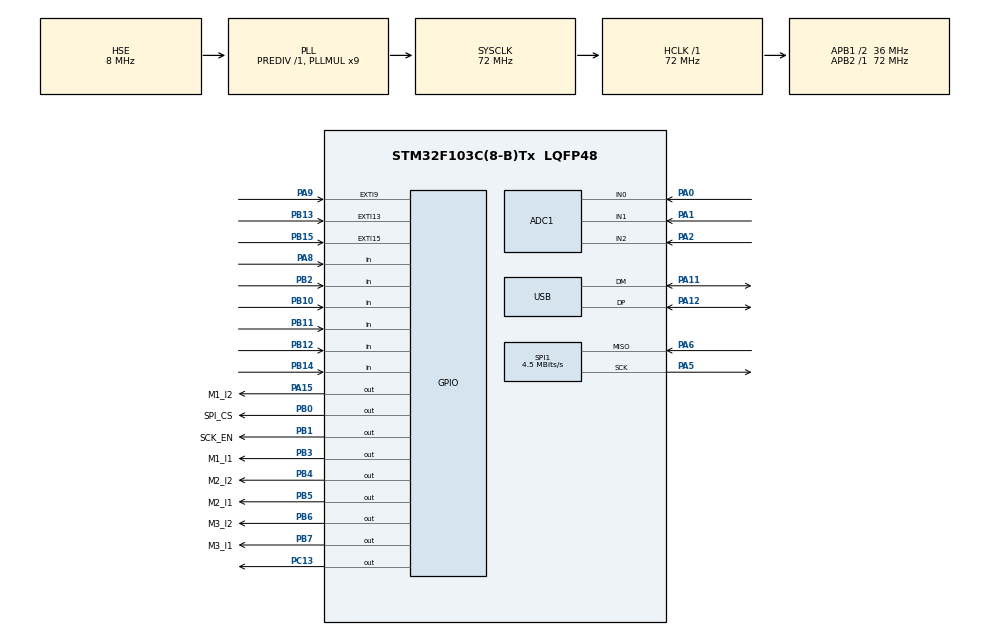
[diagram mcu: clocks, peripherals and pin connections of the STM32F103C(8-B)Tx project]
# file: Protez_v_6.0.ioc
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ADC1.Channel-0\#ChannelRegularConversion=ADC_CHANNEL_0
ADC1.NbrOfConversionFlag=1
ADC1.Rank-0\#ChannelRegularConversion=1
ADC1.SamplingTime-0\#ChannelRegularConversion=ADC_SAMPLETIME_1CYCLE_5
ADC1.master=1
Mcu.Family=STM32F1
Mcu.Name=STM32F103C(8-B)Tx
Mcu.Package=LQFP48
NVIC.EXTI15_10_IRQn=true\:1\:0\:true\:false\:true\:true\:true\:true
NVIC.EXTI9_5_IRQn=true\:1\:0\:true\:false\:true\:true\:true\:true
NVIC.PriorityGroup=NVIC_PRIORITYGROUP_4
NVIC.SPI1_IRQn=true\:0\:0\:false\:false\:true\:true\:true\:true
NVIC.TIM3_IRQn=true\:0\:0\:false\:false\:true\:true\:true\:true
NVIC.TIM4_IRQn=true\:0\:0\:false\:false\:true\:true\:true\:true
NVIC.USB_LP_CAN1_RX0_IRQn=true\:0\:0\:false\:false\:true\:false\:true\:true
PA0-WKUP.Signal=ADCx_IN0
PA1.Signal=ADCx_IN1
PA11.Mode=Device
PA11.Signal=USB_DM
PA12.Mode=Device
PA12.Signal=USB_DP
PA13.Mode=Serial_Wire
PA13.Signal=SYS_JTMS-SWDIO
PA14.Mode=Serial_Wire
PA14.Signal=SYS_JTCK-SWCLK
PA15.GPIO_Label=M1_I2
PA15.Signal=GPIO_Output
PA2.Signal=ADCx_IN2
PA5.Mode=RX_Only_Simplex_Unidirect_Master
PA5.Signal=SPI1_SCK
PA6.Mode=RX_Only_Simplex_Unidirect_Master
PA6.Signal=SPI1_MISO
PA8.GPIO_PuPd=GPIO_PULLUP
PA8.Signal=GPIO_Input
PA9.GPIO_ModeDefaultEXTI=GPIO_MODE_IT_FALLING
PA9.GPIO_PuPd=GPIO_PULLUP
PA9.Signal=GPXTI9
PB0.GPIO_Label=SPI_CS
PB0.Signal=GPIO_Output
PB1.GPIO_Label=SCK_EN
PB1.Signal=GPIO_Output
PB10.GPIO_Mode=GPIO_MODE_INPUT
PB10.GPIO_PuPd=GPIO_PULLUP
PB10.Signal=GPIO_Input
PB11.GPIO_Mode=GPIO_MODE_INPUT
PB11.GPIO_PuPd=GPIO_PULLUP
PB11.Signal=GPIO_Input
PB12.GPIO_PuPd=GPIO_PULLUP
PB12.Signal=GPIO_Input
PB13.GPIO_ModeDefaultEXTI=GPIO_MODE_IT_FALLING
PB13.GPIO_PuPd=GPIO_PULLUP
PB13.Signal=GPXTI13
PB14.GPIO_PuPd=GPIO_PULLUP
PB14.Signal=GPIO_Input
PB15.GPIO_ModeDefaultEXTI=GPIO_MODE_IT_FALLING
PB15.GPIO_PuPd=GPIO_PULLUP
PB15.Signal=GPXTI15
PB2.GPIO_Mode=GPIO_MODE_INPUT
PB2.GPIO_PuPd=GPIO_PULLUP
PB2.Signal=GPIO_Input
PB3.GPIO_Label=M1_I1
PB3.Signal=GPIO_Output
PB4.GPIO_Label=M2_I2
PB4.Signal=GPIO_Output
PB5.GPIO_Label=M2_I1
PB5.Signal=GPIO_Output
PB6.GPIO_Label=M3_I2
PB6.Signal=GPIO_Output
PB7.GPIO_Label=M3_I1
PB7.Signal=GPIO_Output
PC13-TAMPER-RTC.Signal=GPIO_Output
PD0-OSC_IN.Mode=HSE-External-Oscillator
PD0-OSC_IN.Signal=RCC_OSC_IN
PD1-OSC_OUT.Mode=HSE-External-Oscillator
PD1-OSC_OUT.Signal=RCC_OSC_OUT
ProjectManager.HeapSize=0x200
ProjectManager.StackSize=0x400
ProjectManager.TargetToolchain=STM32CubeIDE
RCC.ADCPresc=RCC_ADCPCLK2_DIV6
RCC.AHBFreq_Value=72000000
RCC.APB1CLKDivider=RCC_HCLK_DIV2
RCC.APB1Freq_Value=36000000
RCC.APB1TimFreq_Value=72000000
RCC.APB2Freq_Value=72000000
RCC.APB2TimFreq_Value=72000000
RCC.HCLKFreq_Value=72000000
RCC.PLLMUL=RCC_PLL_MUL9
RCC.PLLSourceVirtual=RCC_PLLSOURCE_HSE
RCC.SYSCLKFreq_VALUE=72000000
RCC.SYSCLKSource=RCC_SYSCLKSOURCE_PLLCLK
RCC.USBFreq_Value=48000000
RCC.USBPrescaler=RCC_USBCLKSOURCE_PLL_DIV1_5
SH.ADCx_IN0.0=ADC1_IN0,IN0
SH.ADCx_IN1.0=ADC1_IN1,IN1
SH.ADCx_IN2.0=ADC1_IN2,IN2
SPI1.BaudRatePrescaler=SPI_BAUDRATEPRESCALER_16
SPI1.CalculateBaudRate=4.5 MBits/s
SPI1.Direction=SPI_DIRECTION_2LINES_RXONLY
SPI1.Mode=SPI_MODE_MASTER
SPI1.VirtualType=VM_MASTER
TIM3.Period=10-1
TIM3.Prescaler=72-1
TIM4.Period=1000-1
TIM4.Prescaler=72-1
USB_DEVICE.CLASS_NAME_FS=CDC
USB_DEVICE.VirtualMode=Cdc
USB_DEVICE.VirtualModeFS=Cdc_FS
VP_TIM3_VS_ClockSourceINT.Mode=Internal
VP_TIM4_VS_ClockSourceINT.Mode=Internal
VP_USB_DEVICE_VS_USB_DEVICE_CDC_FS.Mode=CDC_FS
board=custom

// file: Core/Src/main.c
/* USER CODE BEGIN Header */
/**
  ******************************************************************************
  * @file           : main.c
  * @brief          : Main program body
  ******************************************************************************
  * @attention
  *
  * Copyright (c) 2026 STMicroelectronics.
  * All rights reserved.
  *
  * This software is licensed under terms that can be found in the LICENSE file
  * in the root directory of this software component.
  * If no LICENSE file comes with this software, it is provided AS-IS.
  *
  ******************************************************************************
  */
/* USER CODE END Header */
#include "main.h"
#include "usb_device.h"

/* USER CODE BEGIN Includes */
#include "StarVar.h"
/* USER CODE END Includes */

/* USER CODE BEGIN PTD */
_Bool CMD_HOME;
_Bool CMD_MAIN;
_Bool CMD_GET;
_Bool CMD_HDSP;
_Bool CMD_LIM;
/* USER CODE END PTD */

ADC_HandleTypeDef hadc1;

SPI_HandleTypeDef hspi1;

TIM_HandleTypeDef htim3;
TIM_HandleTypeDef htim4;

/* USER CODE BEGIN PV */

typedef enum cmd_t {
	MOVE = 0,
	HOLD,
	RELEASED,
} cmd_t;

typedef struct Point
{
    float x;
    float y;
} Point;

enum p_idx{
    p0 = 0,     // K
    p1, p2,     // O, P1
    p3, p4,     // C1, B1
    p5, p6,     // A1, N
    p7, p8,     // A, M
    p9, p10,    // B, L
    p11,        // C
};

typedef struct exoskeleton_t {
	Point p[13];

	float current_q[3];
} exoskeleton_t;

typedef enum direction_t {
	forward = 0,
	backforward,
} direction_t;
typedef struct PID_t {
//	float transfer_value;	/* 1 gradus = 1 pulse*/

//	float koef_p;

//	float old_current_angle;
//	float current_angle;
//	uint32_t old_current_time;
//	uint32_t current_time;

//	float trg_angle;
//	float trg_time;

//	float current_velocity;
//	float trg_velocity;

} PID_t;

typedef struct motor_t {
	GPIO_TypeDef*	gpio1;
	uint32_t 		pin1;
	GPIO_TypeDef*	gpio2;
	uint32_t 		pin2;

	uint32_t 		counter;
	uint32_t 		trg_up;
	uint32_t		pwm_count_down;

	_Bool			motor_en;
	direction_t		direction;

	_Bool 			enc_state;

	uint32_t 		counter_enc;

	PID_t			pid;

	float 			linear_step_on_per;
	float			transfer_value;

	float			lim_min;
	float			lim_max;
} motor_t;

motor_t motor[3];
uint8_t data;
volatile uint8_t USB_Angle[24];

exoskeleton_t 	exoskeleton;
usb_command_t 	u_cmd[3];
lim_t			u_lim[3];

float angle[3] = {0.0, };

uint8_t buffer_usb[100];

/* Длина линии по точкам */
float lenPP(Point a, Point b) {
    return sqrt((a.x - b.x) * (a.x - b.x) + (a.y - b.y) * (a.y - b.y));
}
/* Угол по трем сторонам */
float angle3Line(float l1, float l2, float l3) {
    return acos((((l2 * l2) + (l3 * l3) - (l1 * l1)) / (2.0 * l2 * l3) ));
}
/* Модуль по углу и двум сторонам */
float moduleALL(float angle, float line1, float line2) {
    return sqrt((line1 * line1) + (line2 * line2) - 2.0 * line1 * line2 * cos(angle));
}

/* USER CODE END PV */

void SystemClock_Config(void);
static void MX_GPIO_Init(void);
static void MX_ADC1_Init(void);
static void MX_SPI1_Init(void);
static void MX_TIM3_Init(void);
static void MX_TIM4_Init(void);
/* USER CODE BEGIN PFP */

void received_command() {

	static float sup_angle2[25] = {0, };
	float fi[3] = {0, };

    /*============================================================*/

	/* Имеем разворот (классическое положение) */
	fi[0] = 3.1415926536;
	fi[1] = 3.1415926536;
	fi[2] = 3.1415926536;

	if(u_cmd[0].number_motor == 0) {
		if (u_cmd[0].op_cmd == MOVE) {
			angle[0] = u_cmd[0].angle_trg;
		}
		else if (u_cmd[0].op_cmd == HOLD) {
			angle[0] = angle[0];
		}
		else if (u_cmd[0].op_cmd == RELEASED) {
			angle[0] = angle[0];
		}
	}
	if(u_cmd[1].number_motor == 1) {
		if (u_cmd[1].op_cmd == MOVE) {
			angle[1] = u_cmd[1].angle_trg;
		}
		else if (u_cmd[1].op_cmd == HOLD) {
			angle[1] = angle[1];
		}
		else if (u_cmd[1].op_cmd == RELEASED) {
			angle[1] = angle[1];
		}
	}
	if(u_cmd[2].number_motor == 2) {
		if (u_cmd[2].op_cmd == MOVE) {
			angle[2] = u_cmd[2].angle_trg;
		}
		else if (u_cmd[2].op_cmd == HOLD) {
			angle[2] = angle[2];
		}
		else if (u_cmd[2].op_cmd == RELEASED) {
			angle[2] = angle[2];
		}
	}

//	float angle[3] = {
//			USB_Angle[0] | (USB_Angle[1] << 8) | (USB_Angle[2] << 8)  | (USB_Angle[3]  << 8),
//			USB_Angle[4] | (USB_Angle[5] << 8) | (USB_Angle[6] << 8)  | (USB_Angle[7]  << 8),
//			USB_Angle[8] | (USB_Angle[9] << 8) | (USB_Angle[10] << 8) | (USB_Angle[11] << 8)
//			USB_Angle[0] | (USB_Angle[1] << 8),
//			USB_Angle[2] | (USB_Angle[3] << 8),
//			USB_Angle[4] | (USB_Angle[5] << 8),
//	};
	angle[0] /= 1000;
	angle[1] /= 1000;
	angle[2] /= 1000;

    fi[0] += (angle[0] * 3.14) / 180.0;
    fi[1] += (angle[1] * 3.14) / 180.0;
    fi[2] += (angle[2] * 3.14) / 180.0;

    exoskeleton.p[p0].x		= p0x;
    exoskeleton.p[p0].y		= p0y;
    exoskeleton.p[p1].x		= exoskeleton.p[p0].x + lx_p0p1;
    exoskeleton.p[p1].y		= exoskeleton.p[p0].y + ly_p0p1;
    exoskeleton.p[p2].x		= exoskeleton.p[p0].x + lx_p0p1 + lx_p1p2;
    exoskeleton.p[p2].y		= exoskeleton.p[p0].y + ly_p0p1 + ly_p1p2;

    l_p0p1					= lenPP(exoskeleton.p[p0], exoskeleton.p[p1]);
    l_p0p11					= l_p0p10 / 2.0;
    l_p9p10					= l_p8p10 / 2.0;
    l_p7p8					= l_p6p8 / 2.0;
    l_p10p11        		= l_p0p10 / 2.0;
    l_p8p9					= l_p8p10 / 2.0;

    /* p11 */       /*OK*/
    exoskeleton.p[p11].x        = l_p0p11 * cos(fi[0]);
    exoskeleton.p[p11].y        = l_p0p11 * sin(fi[0]);
    /* p10 */       /*OK*/
    exoskeleton.p[p10].x        = l_p0p10 * cos(fi[0]);
    exoskeleton.p[p10].y        = l_p0p10 * sin(fi[0]);
    /* p9 */        /*OK*/
    exoskeleton.p[p9].x        = exoskeleton.p[p10].x + l_p9p10 * cos(fi[0] + (fi[1] - PI));
    exoskeleton.p[p9].y        = exoskeleton.p[p10].y + l_p9p10 * sin(fi[0] + (fi[1] - PI));
    /* p8 */        /*OK*/
    exoskeleton.p[p8].x        = exoskeleton.p[p10].x + l_p8p10 * cos(fi[0] + (fi[1] - PI));
    exoskeleton.p[p8].y        = exoskeleton.p[p10].y + l_p8p10 * sin(fi[0] + (fi[1] - PI));
    /* p7 */        /*OK*/
    exoskeleton.p[p7].x        = exoskeleton.p[p8].x + l_p7p8 * cos(fi[0] + (fi[1] - PI) + (fi[2] - PI));
    exoskeleton.p[p7].y        = exoskeleton.p[p8].y + l_p7p8 * sin(fi[0] + (fi[1] - PI) + (fi[2] - PI));
    /* p6 */        /*OK*/
    exoskeleton.p[p6].x        = exoskeleton.p[p8].x + l_p6p8 * cos(fi[0] + (fi[1] - PI) + (fi[2] - PI));
    exoskeleton.p[p6].y        = exoskeleton.p[p8].y + l_p6p8 * sin(fi[0] + (fi[1] - PI) + (fi[2] - PI));
    /* p3 */
    float l_p1p11 = lenPP(exoskeleton.p[p1], exoskeleton.p[p11]);
    sup_angle2[18] = angle3Line(l_p1p11, l_p0p11, l_p0p1);
    sup_angle2[19] = angle3Line(l_p1p3, l_p1p11, l_p3p11) + angle3Line(l_p0p1, l_p1p11, l_p0p11);    /* ЗАВИСИМОСТЬ ОТ ЗНАКА +- */
                                                                                                    /* + ЕСЛИ ОТ НУЛЯ fi[0] */
    exoskeleton.p[p3].x         = exoskeleton.p[p11].x + l_p3p11 * cos((fi[0] - PI) + sup_angle2[19]);
    exoskeleton.p[p3].y         = exoskeleton.p[p11].y + l_p3p11 * sin((fi[0] - PI) + sup_angle2[19]);

    l_p2p3       = lenPP(exoskeleton.p[p3], exoskeleton.p[p2]);       /* Q0 */
//    l_p3p4       = lenPP(exoskeleton.p[p3], exoskeleton.p[p4]);       /* Q1 */

    /******************/

    l_p0p3       = lenPP(exoskeleton.p[p0], exoskeleton.p[p3]);
    sup_angle2[1] = angle3Line(l_p0p3, l_p0p11, l_p3p11);

    float l_p9p11 = lenPP(exoskeleton.p[p9], exoskeleton.p[p11]);

    sup_angle2[20] = angle3Line(l_p4p11, l_p4p9, l_p9p11) - angle3Line(l_p10p11, l_p9p11, l_p9p10); /* ЗАВИСИМОСТЬ ОТ ЗНАКА +- */
                                                                                                    /* + ЕСЛИ ОТ НУЛЯ fi[0] */

    exoskeleton.p[p4].x         = exoskeleton.p[p9].x + l_p4p9 * cos((fi[0] - PI) + (fi[1] - PI) + sup_angle2[20]);
    exoskeleton.p[p4].y         = exoskeleton.p[p9].y + l_p4p9 * sin((fi[0] - PI) + (fi[1] - PI) + sup_angle2[20]);

    l_p3p4       = lenPP(exoskeleton.p[p3], exoskeleton.p[p4]);          /* Q1 */

    float l_p7p9 = lenPP(exoskeleton.p[p7], exoskeleton.p[p9]);

    if (l_p7p9 > (l_p8p9 + l_p7p8)) l_p7p9 = l_p8p9 + l_p7p8;

    sup_angle2[21] = angle3Line(l_p5p9, l_p7p9, l_p5p7) - angle3Line(l_p8p9, l_p7p8, l_p7p9);   /* ЗАВИСИМОСТЬ ОТ ЗНАКА +- */
                                                                                                /* + ЕСЛИ ОТ НУЛЯ fi[0] */

    exoskeleton.p[p5].x         = exoskeleton.p[p7].x + l_p5p7 * cos((fi[0] - PI) + (fi[1] - PI) + (fi[2] - PI) + sup_angle2[21]);
    exoskeleton.p[p5].y         = exoskeleton.p[p7].y + l_p5p7 * sin((fi[0] - PI) + (fi[1] - PI) + (fi[2] - PI) + sup_angle2[21]);

    l_p4p5          = lenPP(exoskeleton.p[p4], exoskeleton.p[p5]);       /* Q2 */

//    exoskeleton.current_q[0] = l_p2p3;
//    exoskeleton.current_q[1] = l_p3p4;
//    exoskeleton.current_q[2] = l_p4p5;

    /* Start */

    if (exoskeleton.current_q[0] < l_p2p3) {
    	motor[0].direction			= forward;
    }
    else motor[0].direction			= backforward;
    if (exoskeleton.current_q[1] < l_p3p4) {
    	motor[1].direction			= forward;
    }
    else motor[1].direction			= backforward;
    if (exoskeleton.current_q[2] < l_p4p5) {
    	motor[2].direction			= forward;
    }
    else motor[2].direction			= backforward;

	HAL_GPIO_WritePin(motor[0].gpio1, motor[0].pin1, GPIO_PIN_RESET);
	HAL_GPIO_WritePin(motor[0].gpio2, motor[0].pin2, GPIO_PIN_RESET);
	HAL_GPIO_WritePin(motor[1].gpio1, motor[1].pin1, GPIO_PIN_RESET);
	HAL_GPIO_WritePin(motor[1].gpio2, motor[1].pin2, GPIO_PIN_RESET);
	HAL_GPIO_WritePin(motor[2].gpio1, motor[2].pin1, GPIO_PIN_RESET);
	HAL_GPIO_WritePin(motor[2].gpio2, motor[2].pin2, GPIO_PIN_RESET);

    HAL_TIM_Base_Start_IT(&htim4);

    if (exoskeleton.current_q[0] != l_p2p3) {
        motor[0].motor_en = true;
    }
	if (exoskeleton.current_q[1] != l_p3p4) {
	    motor[1].motor_en = true;
	}
	if (exoskeleton.current_q[2] != l_p4p5) {
	    motor[2].motor_en = true;
	}

	if ((u_cmd[0].speed == 0) || (u_cmd[1].speed == 0) || (u_cmd[2].speed == 0)) {
		CDC_Transmit_FS((uint8_t*)"SPD= 0", 6u);
	}
	else {
		motor[0].pwm_count_down 	= u_cmd[0].speed;
		motor[1].pwm_count_down 	= u_cmd[1].speed;
		motor[2].pwm_count_down 	= u_cmd[2].speed;
	}

    while(1) {

    	if (CMD_HDSP) {
    		CMD_HDSP = false;

    		motor[0].motor_en = false;
    		motor[1].motor_en = false;
    		motor[2].motor_en = false;

    		CDC_Transmit_FS((uint8_t*)"OK____", 6u);
    		break;
    	}
    	if (exoskeleton.current_q[0] <= u_lim[0].lim_min) {
    		HAL_GPIO_WritePin(motor[0].gpio1, motor[0].pin1, GPIO_PIN_SET);
    		HAL_GPIO_WritePin(motor[0].gpio2, motor[0].pin2, GPIO_PIN_SET);
    		motor[0].motor_en = false;
    		CDC_Transmit_FS((uint8_t*)"ERRLM0", 6u);
    	}
    	else if (exoskeleton.current_q[0] >= u_lim[0].lim_max) {
    		HAL_GPIO_WritePin(motor[0].gpio1, motor[0].pin1, GPIO_PIN_SET);
    		HAL_GPIO_WritePin(motor[0].gpio2, motor[0].pin2, GPIO_PIN_SET);
    		motor[0].motor_en = false;
    		CDC_Transmit_FS((uint8_t*)"ERRHM0", 6u);
    	}

    	if (exoskeleton.current_q[1] <= u_lim[1].lim_min) {
    		HAL_GPIO_WritePin(motor[1].gpio1, motor[1].pin1, GPIO_PIN_SET);
    		HAL_GPIO_WritePin(motor[1].gpio2, motor[1].pin2, GPIO_PIN_SET);
    		motor[1].motor_en = false;
    		CDC_Transmit_FS((uint8_t*)"ERRLM1", 6u);
    	}
    	else if (exoskeleton.current_q[1] >= u_lim[1].lim_max) {
    		HAL_GPIO_WritePin(motor[1].gpio1, motor[1].pin1, GPIO_PIN_SET);
    		HAL_GPIO_WritePin(motor[1].gpio2, motor[1].pin2, GPIO_PIN_SET);
    		motor[1].motor_en = false;
    		CDC_Transmit_FS((uint8_t*)"ERRHM1", 6u);
    	}

    	if (exoskeleton.current_q[2] <= u_lim[2].lim_min) {
    		HAL_GPIO_WritePin(motor[2].gpio1, motor[2].pin1, GPIO_PIN_SET);
    		HAL_GPIO_WritePin(motor[2].gpio2, motor[2].pin2, GPIO_PIN_SET);
    		motor[2].motor_en = false;
    		CDC_Transmit_FS((uint8_t*)"ERRLM2", 6u);
    	}
    	else if (exoskeleton.current_q[2] >= u_lim[2].lim_max) {
    		HAL_GPIO_WritePin(motor[2].gpio1, motor[2].pin1, GPIO_PIN_SET);
    		HAL_GPIO_WritePin(motor[2].gpio2, motor[2].pin2, GPIO_PIN_SET);
    		motor[2].motor_en = false;
    		CDC_Transmit_FS((uint8_t*)"ERRHM2", 6u);
    	}

//    	HAL_GPIO_WritePin(GPIOB, GPIO_PIN_0, GPIO_PIN_RESET);
//    	for (uint32_t i = 0; i < 100; i++) {}
//    	HAL_SPI_Receive_IT(&hspi1, &data, 1);
//    	for (uint32_t i = 0; i < 100; i++) {}
//    	HAL_GPIO_WritePin(GPIOB, GPIO_PIN_0, GPIO_PIN_SET);

    	//*********************//
//    	if (!(data & (1 << 7))) motor[0].enc_ch_state2		= true;
//    	else motor[0].enc_ch_state2							= false;
    	// The second sensor is EXTI handler sensor
    	//*********************//
//    	if (!(data & (1 << 6))) motor[1].enc_ch_state2		= true;
//    	else motor[1].enc_ch_state2							= false;
//    	if (!(data & (1 << 5))) motor[1].enc_ch_state1		= true;
//    	else motor[1].enc_ch_state1							= false;
    	//*********************//
//    	if (!(data & (1 << 4))) motor[2].enc_ch_state2		= true;
//    	else motor[2].enc_ch_state2							= false;
//    	if (!(data & (1 << 3))) motor[2].enc_ch_state1		= true;
//    	else motor[2].enc_ch_state1							= false;
    	//*********************//

    	if (motor[0].direction == forward) {
    		if (exoskeleton.current_q[0] >= l_p2p3) {
    			motor[0].motor_en = false;
    			HAL_GPIO_WritePin(motor[0].gpio1, motor[0].pin1, GPIO_PIN_SET);
        		HAL_GPIO_WritePin(motor[0].gpio2, motor[0].pin2, GPIO_PIN_SET);
        	}
    	}
    	else if (motor[0].direction == backforward) {
    		if (exoskeleton.current_q[0] <= l_p2p3) {
    			motor[0].motor_en = false;
    			HAL_GPIO_WritePin(motor[0].gpio1, motor[0].pin1, GPIO_PIN_SET);
        		HAL_GPIO_WritePin(motor[0].gpio2, motor[0].pin2, GPIO_PIN_SET);
        	}
    	}
    	if (motor[1].direction == forward) {
    		if (exoskeleton.current_q[1] >= l_p3p4) {
    			motor[1].motor_en = false;
    			HAL_GPIO_WritePin(motor[1].gpio1, motor[1].pin1, GPIO_PIN_SET);
        		HAL_GPIO_WritePin(motor[1].gpio2, motor[1].pin2, GPIO_PIN_SET);
        	}
    	}
    	else if (motor[1].direction == backforward) {
    		if (exoskeleton.current_q[1] <= l_p3p4) {
    			motor[1].motor_en = false;
    			HAL_GPIO_WritePin(motor[1].gpio1, motor[1].pin1, GPIO_PIN_SET);
        		HAL_GPIO_WritePin(motor[1].gpio2, motor[1].pin2, GPIO_PIN_SET);
        	}
    	}
    	if (motor[2].direction == forward) {
    		if (exoskeleton.current_q[2] >= l_p4p5) {
    			motor[2].motor_en = false;
    			HAL_GPIO_WritePin(motor[2].gpio1, motor[2].pin1, GPIO_PIN_SET);
        		HAL_GPIO_WritePin(motor[2].gpio2, motor[2].pin2, GPIO_PIN_SET);
        	}
    	}
    	else if (motor[2].direction == backforward) {
    		if (exoskeleton.current_q[2] <= l_p4p5) {
    			motor[2].motor_en = false;
    			HAL_GPIO_WritePin(motor[2].gpio1, motor[2].pin1, GPIO_PIN_SET);
        		HAL_GPIO_WritePin(motor[2].gpio2, motor[2].pin2, GPIO_PIN_SET);
        	}
    	}

    	/* DISABLE */
    	if (!motor[0].motor_en && !motor[1].motor_en && !motor[2].motor_en) {
    		HAL_TIM_Base_Stop_IT(&htim4);
    		CDC_Transmit_FS((uint8_t*)"OK____", 6u);
    		break;
    	}

    }

	HAL_GPIO_WritePin(motor[0].gpio1, motor[0].pin1, GPIO_PIN_RESET);
	HAL_GPIO_WritePin(motor[0].gpio2, motor[0].pin2, GPIO_PIN_RESET);
	HAL_GPIO_WritePin(motor[1].gpio1, motor[1].pin1, GPIO_PIN_RESET);
	HAL_GPIO_WritePin(motor[1].gpio2, motor[1].pin2, GPIO_PIN_RESET);
	HAL_GPIO_WritePin(motor[2].gpio1, motor[2].pin1, GPIO_PIN_RESET);
	HAL_GPIO_WritePin(motor[2].gpio2, motor[2].pin2, GPIO_PIN_RESET);

//	if ((motor[0].pid.trg_angle - motor[0].pid.current_angle) <= 0) {
//		  motor[0].motor_en				= false;
//		  HAL_GPIO_WritePin(motor[0].gpio1, motor[0].pin1, GPIO_PIN_SET);
//		  HAL_GPIO_WritePin(motor[0].gpio2, motor[0].pin2, GPIO_PIN_SET);
//	}

}

void home() {

	motor[0].direction			= backforward;
	motor[1].direction			= backforward;
	motor[2].direction			= backforward;

	motor[0].trg_up				= 10;
	motor[0].pwm_count_down 	= 500;
	motor[1].trg_up				= 10;
	motor[1].pwm_count_down 	= 500;
	motor[2].trg_up				= 10;
	motor[2].pwm_count_down 	= 500;

	HAL_GPIO_WritePin(motor[0].gpio1, motor[0].pin1, GPIO_PIN_RESET);
	HAL_GPIO_WritePin(motor[0].gpio2, motor[0].pin2, GPIO_PIN_RESET);
	HAL_GPIO_WritePin(motor[1].gpio1, motor[1].pin1, GPIO_PIN_RESET);
	HAL_GPIO_WritePin(motor[1].gpio2, motor[1].pin2, GPIO_PIN_RESET);
	HAL_GPIO_WritePin(motor[2].gpio1, motor[2].pin1, GPIO_PIN_RESET);
	HAL_GPIO_WritePin(motor[2].gpio2, motor[2].pin2, GPIO_PIN_RESET);
    HAL_TIM_Base_Start_IT(&htim4);

    motor[0].motor_en = true;
    motor[1].motor_en = true;
    motor[2].motor_en = true;

    while(1) {

    	if ((HAL_GPIO_ReadPin(GPIOB, GPIO_PIN_11) == GPIO_PIN_RESET) && motor[0].motor_en) {
    		motor[0].motor_en = false;
			HAL_GPIO_WritePin(motor[0].gpio1, motor[0].pin1, GPIO_PIN_RESET);
			HAL_GPIO_WritePin(motor[0].gpio2, motor[0].pin2, GPIO_PIN_RESET);
    	}
    	if ((HAL_GPIO_ReadPin(GPIOB, GPIO_PIN_10) == GPIO_PIN_RESET) && motor[1].motor_en) {
			motor[1].motor_en = false;
			HAL_GPIO_WritePin(motor[1].gpio1, motor[1].pin1, GPIO_PIN_RESET);
			HAL_GPIO_WritePin(motor[1].gpio2, motor[1].pin2, GPIO_PIN_RESET);
    	}
    	if ((HAL_GPIO_ReadPin(GPIOB, GPIO_PIN_2) == GPIO_PIN_RESET) && motor[2].motor_en) {
			motor[2].motor_en = false;
			HAL_GPIO_WritePin(motor[2].gpio1, motor[2].pin1, GPIO_PIN_RESET);
			HAL_GPIO_WritePin(motor[2].gpio2, motor[2].pin2, GPIO_PIN_RESET);
    	}

    	if (!motor[0].motor_en && !motor[1].motor_en && !motor[2].motor_en) {

    		HAL_Delay(500);
    		/* First position */

    		motor[0].direction			= forward;
    		motor[1].direction			= forward;
    		motor[2].direction			= forward;

    	    motor[0].motor_en = true;
    	    motor[1].motor_en = true;
    	    motor[2].motor_en = true;

    	    HAL_Delay(800);

    		motor[0].motor_en = false;
    	    motor[1].motor_en = false;
    	    motor[2].motor_en = false;

			HAL_GPIO_WritePin(motor[0].gpio1, motor[0].pin1, GPIO_PIN_SET);
			HAL_GPIO_WritePin(motor[0].gpio2, motor[0].pin2, GPIO_PIN_SET);
			HAL_GPIO_WritePin(motor[1].gpio1, motor[1].pin1, GPIO_PIN_SET);
			HAL_GPIO_WritePin(motor[1].gpio2, motor[1].pin2, GPIO_PIN_SET);
			HAL_GPIO_WritePin(motor[2].gpio1, motor[2].pin1, GPIO_PIN_SET);
			HAL_GPIO_WritePin(motor[2].gpio2, motor[2].pin2, GPIO_PIN_SET);

    	    HAL_TIM_Base_Stop_IT(&htim4);

    		/* First position */
    		exoskeleton.current_q[0] = 74.790899999999993;
    		exoskeleton.current_q[1] = 59.259999999999998;
    		exoskeleton.current_q[2] = 30.91;

    	    HAL_Delay(700);

			HAL_GPIO_WritePin(motor[0].gpio1, motor[0].pin1, GPIO_PIN_RESET);
			HAL_GPIO_WritePin(motor[0].gpio2, motor[0].pin2, GPIO_PIN_RESET);
			HAL_GPIO_WritePin(motor[1].gpio1, motor[1].pin1, GPIO_PIN_RESET);
			HAL_GPIO_WritePin(motor[1].gpio2, motor[1].pin2, GPIO_PIN_RESET);
			HAL_GPIO_WritePin(motor[2].gpio1, motor[2].pin1, GPIO_PIN_RESET);
			HAL_GPIO_WritePin(motor[2].gpio2, motor[2].pin2, GPIO_PIN_RESET);

    		break;
    	}
    }
}

/* USER CODE END PFP */

int main(void)
{

  /* MCU Configuration--------------------------------------------------------*/

  /* Reset of all peripherals, Initializes the Flash interface and the Systick. */
  HAL_Init();

  /* Configure the system clock */
  SystemClock_Config();

  /* Initialize all configured peripherals */
  MX_GPIO_Init();
  MX_ADC1_Init();
  MX_SPI1_Init();
  MX_USB_DEVICE_Init();
  MX_TIM3_Init();
  MX_TIM4_Init();
  /* USER CODE BEGIN 2 */
  /* Motor 1 */
  motor[0].gpio1 				= GPIOB;
  motor[0].pin1					= GPIO_PIN_7;
  motor[0].gpio2 				= GPIOB;
  motor[0].pin2					= GPIO_PIN_6;
  motor[0].transfer_value		= 23.0;
  motor[0].direction			= forward;
  motor[0].motor_en				= false;
  motor[0].trg_up				= 10;
  motor[0].pwm_count_down 		= 800;
  /* Motor 2 */
  motor[1].gpio1 				= GPIOB;
  motor[1].pin1					= GPIO_PIN_5;
  motor[1].gpio2 				= GPIOB;
  motor[1].pin2					= GPIO_PIN_4;
  motor[1].transfer_value		= 23.0;
  motor[1].direction			= forward;
  motor[1].motor_en				= false;
  motor[1].trg_up				= 10;
  motor[1].pwm_count_down 		= 800;
  /* Motor 3 */
  motor[2].gpio1 				= GPIOB;
  motor[2].pin1					= GPIO_PIN_3;
  motor[2].gpio2 				= GPIOA;
  motor[2].pin2					= GPIO_PIN_15;
  motor[2].transfer_value		= 23.0;
  motor[2].direction			= forward;
  motor[2].motor_en				= false;
  motor[2].trg_up				= 10;
  motor[2].pwm_count_down 		= 800;

  /* First position */
  exoskeleton.current_q[0] = 74.790899999999993;
  exoskeleton.current_q[1] = 59.259999999999998;
  exoskeleton.current_q[2] = 30.91;

  /* Linear pitch value per screw rotation value */
  motor[0].linear_step_on_per = 0.5;
  motor[1].linear_step_on_per = 0.5;
  motor[2].linear_step_on_per = 0.5;

//  HAL_TIM_Base_Start_IT(&htim4);
//  HAL_TIM_Base_Start_IT(&htim3);

  HAL_GPIO_WritePin(GPIOB, GPIO_PIN_1, GPIO_PIN_SET);
  HAL_GPIO_WritePin(GPIOB, GPIO_PIN_0, GPIO_PIN_SET);

  HAL_Delay(1000);

  USB_Angle[0] = 0;
  USB_Angle[1] = 0;
  USB_Angle[2] = 0;

  u_lim[0].lim_max 	= 200.0;
  u_lim[0].lim_min 	= 0.0;
  u_lim[1].lim_max 	= 200.0;
  u_lim[1].lim_min 	= 0.0;
  u_lim[2].lim_max 	= 200.0;
  u_lim[2].lim_min 	= 0.0;

  u_cmd[0].speed	= 800;
  u_cmd[1].speed	= 800;
  u_cmd[2].speed	= 800;

//  received_command();

//  home();

  /* USER CODE END 2 */

  /* Infinite loop */
  /* USER CODE BEGIN WHILE */
  while (1)
  {
	  HAL_GPIO_TogglePin(GPIOC, GPIO_PIN_13);

	  if (CMD_HOME) {
		  home();
		  CDC_Transmit_FS((uint8_t*)"OK____", 6u);
		  CMD_HOME = false;
	  }
	  else if (CMD_MAIN) {
		  received_command();
		  CDC_Transmit_FS((uint8_t*)"OK____", 6u);
		  CMD_MAIN = false;
	  }
	  else if (CMD_GET) {

		  uint8_t u = 0;
		  buffer_usb[u++] = 'T';
		  uint32_t tm = HAL_GetTick();
		  buffer_usb[u++] = ((tm & 0xFF000000) >> 24);
		  buffer_usb[u++] = ((tm & 0x00FF0000) >> 16);
		  buffer_usb[u++] = ((tm & 0x0000FF00) >> 8);
		  buffer_usb[u++] = ((tm & 0x000000FF) >> 0);
		  for (uint8_t i = 0; i < 3; i++) {
			  buffer_usb[u++] = 'M';
			  buffer_usb[u++] = i;
			  uint32_t agl = angle[0] * 1000;
			  buffer_usb[u++] = ((agl & 0xFF000000) >> 24);
			  buffer_usb[u++] = ((agl & 0x00FF0000) >> 16);
			  buffer_usb[u++] = ((agl & 0x0000FF00) >> 8);
			  buffer_usb[u++] = ((agl & 0x000000FF) >> 0);
			  uint32_t c_agl = exoskeleton.current_q[0] * 1000;
			  buffer_usb[u++] = ((c_agl & 0xFF000000) >> 24);
			  buffer_usb[u++] = ((c_agl & 0x00FF0000) >> 16);
			  buffer_usb[u++] = ((c_agl & 0x0000FF00) >> 8);
			  buffer_usb[u++] = ((c_agl & 0x000000FF) >> 0);
			  buffer_usb[u++] = u_cmd[i].op_cmd;
			  uint32_t lim_mn = u_lim[i].lim_min * 1000;
			  buffer_usb[u++] = ((lim_mn & 0xFF000000) >> 24);
			  buffer_usb[u++] = ((lim_mn & 0x00FF0000) >> 16);
			  buffer_usb[u++] = ((lim_mn & 0x0000FF00) >> 8);
			  buffer_usb[u++] = ((lim_mn & 0x000000FF) >> 0);
			  uint32_t lim_mx = u_lim[i].lim_max * 1000;
			  buffer_usb[u++] = ((lim_mx & 0xFF000000) >> 24);
			  buffer_usb[u++] = ((lim_mx & 0x00FF0000) >> 16);
			  buffer_usb[u++] = ((lim_mx & 0x0000FF00) >> 8);
			  buffer_usb[u++] = ((lim_mx & 0x000000FF) >> 0);
		  }
		  CDC_Transmit_FS((uint8_t*)buffer_usb, 59u);
		  CMD_GET = false;
	  }

//	  HAL_GPIO_WritePin(GPIOB, GPIO_PIN_0, GPIO_PIN_RESET);
//	  for (uint32_t i = 0; i < 100; i++) {}
//	  HAL_SPI_Receive_IT(&hspi1, &data, 1);
//	  for (uint32_t i = 0; i < 100; i++) {}
//	  HAL_GPIO_WritePin(GPIOB, GPIO_PIN_0, GPIO_PIN_SET);
//
//
//	  if (!(data & (1 << 7))) motor[0].enc_ch_state2		= true;
//	  else motor[0].enc_ch_state2							= false;
//	  current_q

	  //			motor[0].pid.current_angle 		= 2.4 * motor[0].counter_enc / motor[0].pid.transfer_value;
	  //			temp4								= (100000 * (motor[0].pid.current_angle - motor[0].pid.old_current_angle) /
	  //				  (motor[0].pid.current_time - motor[0].pid.old_current_time));
	  //			motor[0].pid.current_velocity 	= 100000 * (motor[0].pid.current_angle) / (motor[0].pid.current_time + 0.0001);
	  //			temp1 							= 0.08 * motor[0].pid.koef_p * (motor[0].pid.trg_velocity - motor[0].pid.current_velocity);
	  //			motor[0].pwm_count_down			+= temp1;
	  //			motor[0].pid.old_current_angle	= motor[0].pid.current_angle;
	  //			motor[0].pid.old_current_time		= motor[0].pid.current_time;
	  //			if (motor[0].pwm_count_down < 60) motor[0].pwm_count_down = 60;

/*
	  if (motor[0].counter_enc >= 10500)  //1050
	  {
		  motor[0].motor_en				= false;

		  HAL_GPIO_WritePin(motor[0].gpio1, motor[0].pin1, GPIO_PIN_RESET);
		  HAL_GPIO_WritePin(motor[0].gpio2, motor[0].pin2, GPIO_PIN_RESET);
	  }
*/

	  HAL_Delay(20);

    /* USER CODE END WHILE */

  }
}

void SystemClock_Config(void)
{
  RCC_OscInitTypeDef RCC_OscInitStruct = {0};
  RCC_ClkInitTypeDef RCC_ClkInitStruct = {0};
  RCC_PeriphCLKInitTypeDef PeriphClkInit = {0};

  /** Initializes the RCC Oscillators according to the specified parameters
  * in the RCC_OscInitTypeDef structure.
  */
  RCC_OscInitStruct.OscillatorType = RCC_OSCILLATORTYPE_HSE;
  RCC_OscInitStruct.HSEState = RCC_HSE_ON;
  RCC_OscInitStruct.HSEPredivValue = RCC_HSE_PREDIV_DIV1;
  RCC_OscInitStruct.HSIState = RCC_HSI_ON;
  RCC_OscInitStruct.PLL.PLLState = RCC_PLL_ON;
  RCC_OscInitStruct.PLL.PLLSource = RCC_PLLSOURCE_HSE;
  RCC_OscInitStruct.PLL.PLLMUL = RCC_PLL_MUL9;
  if (HAL_RCC_OscConfig(&RCC_OscInitStruct) != HAL_OK)
  {
    Error_Handler();
  }

  /** Initializes the CPU, AHB and APB buses clocks
  */
  RCC_ClkInitStruct.ClockType = RCC_CLOCKTYPE_HCLK|RCC_CLOCKTYPE_SYSCLK
                              |RCC_CLOCKTYPE_PCLK1|RCC_CLOCKTYPE_PCLK2;
  RCC_ClkInitStruct.SYSCLKSource = RCC_SYSCLKSOURCE_PLLCLK;
  RCC_ClkInitStruct.AHBCLKDivider = RCC_SYSCLK_DIV1;
  RCC_ClkInitStruct.APB1CLKDivider = RCC_HCLK_DIV2;
  RCC_ClkInitStruct.APB2CLKDivider = RCC_HCLK_DIV1;

  if (HAL_RCC_ClockConfig(&RCC_ClkInitStruct, FLASH_LATENCY_2) != HAL_OK)
  {
    Error_Handler();
  }
  PeriphClkInit.PeriphClockSelection = RCC_PERIPHCLK_ADC|RCC_PERIPHCLK_USB;
  PeriphClkInit.AdcClockSelection = RCC_ADCPCLK2_DIV6;
  PeriphClkInit.UsbClockSelection = RCC_USBCLKSOURCE_PLL_DIV1_5;
  if (HAL_RCCEx_PeriphCLKConfig(&PeriphClkInit) != HAL_OK)
  {
    Error_Handler();
  }
}

static void MX_ADC1_Init(void)
{

  ADC_ChannelConfTypeDef sConfig = {0};

  /** Common config
  */
  hadc1.Instance = ADC1;
  hadc1.Init.ScanConvMode = ADC_SCAN_DISABLE;
  hadc1.Init.ContinuousConvMode = DISABLE;
  hadc1.Init.DiscontinuousConvMode = DISABLE;
  hadc1.Init.ExternalTrigConv = ADC_SOFTWARE_START;
  hadc1.Init.DataAlign = ADC_DATAALIGN_RIGHT;
  hadc1.Init.NbrOfConversion = 1;
  if (HAL_ADC_Init(&hadc1) != HAL_OK)
  {
    Error_Handler();
  }

  /** Configure Regular Channel
  */
  sConfig.Channel = ADC_CHANNEL_0;
  sConfig.Rank = ADC_REGULAR_RANK_1;
  sConfig.SamplingTime = ADC_SAMPLETIME_1CYCLE_5;
  if (HAL_ADC_ConfigChannel(&hadc1, &sConfig) != HAL_OK)
  {
    Error_Handler();
  }

}

static void MX_SPI1_Init(void)
{

  /* SPI1 parameter configuration*/
  hspi1.Instance = SPI1;
  hspi1.Init.Mode = SPI_MODE_MASTER;
  hspi1.Init.Direction = SPI_DIRECTION_2LINES_RXONLY;
  hspi1.Init.DataSize = SPI_DATASIZE_8BIT;
  hspi1.Init.CLKPolarity = SPI_POLARITY_LOW;
  hspi1.Init.CLKPhase = SPI_PHASE_1EDGE;
  hspi1.Init.NSS = SPI_NSS_SOFT;
  hspi1.Init.BaudRatePrescaler = SPI_BAUDRATEPRESCALER_16;
  hspi1.Init.FirstBit = SPI_FIRSTBIT_MSB;
  hspi1.Init.TIMode = SPI_TIMODE_DISABLE;
  hspi1.Init.CRCCalculation = SPI_CRCCALCULATION_DISABLE;
  hspi1.Init.CRCPolynomial = 10;
  if (HAL_SPI_Init(&hspi1) != HAL_OK)
  {
    Error_Handler();
  }

}

static void MX_TIM3_Init(void)
{

  TIM_ClockConfigTypeDef sClockSourceConfig = {0};
  TIM_MasterConfigTypeDef sMasterConfig = {0};

  htim3.Instance = TIM3;
  htim3.Init.Prescaler = 72-1;
  htim3.Init.CounterMode = TIM_COUNTERMODE_UP;
  htim3.Init.Period = 10-1;
  htim3.Init.ClockDivision = TIM_CLOCKDIVISION_DIV1;
  htim3.Init.AutoReloadPreload = TIM_AUTORELOAD_PRELOAD_DISABLE;
  if (HAL_TIM_Base_Init(&htim3) != HAL_OK)
  {
    Error_Handler();
  }
  sClockSourceConfig.ClockSource = TIM_CLOCKSOURCE_INTERNAL;
  if (HAL_TIM_ConfigClockSource(&htim3, &sClockSourceConfig) != HAL_OK)
  {
    Error_Handler();
  }
  sMasterConfig.MasterOutputTrigger = TIM_TRGO_RESET;
  sMasterConfig.MasterSlaveMode = TIM_MASTERSLAVEMODE_DISABLE;
  if (HAL_TIMEx_MasterConfigSynchronization(&htim3, &sMasterConfig) != HAL_OK)
  {
    Error_Handler();
  }

}

static void MX_TIM4_Init(void)
{

  TIM_ClockConfigTypeDef sClockSourceConfig = {0};
  TIM_MasterConfigTypeDef sMasterConfig = {0};

  htim4.Instance = TIM4;
  htim4.Init.Prescaler = 72-1;
  htim4.Init.CounterMode = TIM_COUNTERMODE_UP;
  htim4.Init.Period = 1000-1;
  htim4.Init.ClockDivision = TIM_CLOCKDIVISION_DIV1;
  htim4.Init.AutoReloadPreload = TIM_AUTORELOAD_PRELOAD_DISABLE;
  if (HAL_TIM_Base_Init(&htim4) != HAL_OK)
  {
    Error_Handler();
  }
  sClockSourceConfig.ClockSource = TIM_CLOCKSOURCE_INTERNAL;
  if (HAL_TIM_ConfigClockSource(&htim4, &sClockSourceConfig) != HAL_OK)
  {
    Error_Handler();
  }
  sMasterConfig.MasterOutputTrigger = TIM_TRGO_RESET;
  sMasterConfig.MasterSlaveMode = TIM_MASTERSLAVEMODE_DISABLE;
  if (HAL_TIMEx_MasterConfigSynchronization(&htim4, &sMasterConfig) != HAL_OK)
  {
    Error_Handler();
  }

}

static void MX_GPIO_Init(void)
{
  GPIO_InitTypeDef GPIO_InitStruct = {0};

  /* GPIO Ports Clock Enable */
  __HAL_RCC_GPIOC_CLK_ENABLE();
  __HAL_RCC_GPIOD_CLK_ENABLE();
  __HAL_RCC_GPIOA_CLK_ENABLE();
  __HAL_RCC_GPIOB_CLK_ENABLE();

  /*Configure GPIO pin Output Level */
  HAL_GPIO_WritePin(GPIOC, GPIO_PIN_13, GPIO_PIN_RESET);

  /*Configure GPIO pin Output Level */
  HAL_GPIO_WritePin(GPIOB, SPI_CS_Pin|SCK_EN_Pin|M1_I1_Pin|M2_I2_Pin
                          |M2_I1_Pin|M3_I2_Pin|M3_I1_Pin, GPIO_PIN_RESET);

  /*Configure GPIO pin Output Level */
  HAL_GPIO_WritePin(M1_I2_GPIO_Port, M1_I2_Pin, GPIO_PIN_RESET);

  /*Configure GPIO pin : PC13 */
  GPIO_InitStruct.Pin = GPIO_PIN_13;
  GPIO_InitStruct.Mode = GPIO_MODE_OUTPUT_PP;
  GPIO_InitStruct.Pull = GPIO_NOPULL;
  GPIO_InitStruct.Speed = GPIO_SPEED_FREQ_LOW;
  HAL_GPIO_Init(GPIOC, &GPIO_InitStruct);

  /*Configure GPIO pins : SPI_CS_Pin SCK_EN_Pin M1_I1_Pin M2_I2_Pin
                           M2_I1_Pin M3_I2_Pin M3_I1_Pin */
  GPIO_InitStruct.Pin = SPI_CS_Pin|SCK_EN_Pin|M1_I1_Pin|M2_I2_Pin
                          |M2_I1_Pin|M3_I2_Pin|M3_I1_Pin;
  GPIO_InitStruct.Mode = GPIO_MODE_OUTPUT_PP;
  GPIO_InitStruct.Pull = GPIO_NOPULL;
  GPIO_InitStruct.Speed = GPIO_SPEED_FREQ_LOW;
  HAL_GPIO_Init(GPIOB, &GPIO_InitStruct);

  /*Configure GPIO pins : PB2 PB10 PB11 PB12
                           PB14 */
  GPIO_InitStruct.Pin = GPIO_PIN_2|GPIO_PIN_10|GPIO_PIN_11|GPIO_PIN_12
                          |GPIO_PIN_14;
  GPIO_InitStruct.Mode = GPIO_MODE_INPUT;
  GPIO_InitStruct.Pull = GPIO_PULLUP;
  HAL_GPIO_Init(GPIOB, &GPIO_InitStruct);

  /*Configure GPIO pins : PB13 PB15 */
  GPIO_InitStruct.Pin = GPIO_PIN_13|GPIO_PIN_15;
  GPIO_InitStruct.Mode = GPIO_MODE_IT_FALLING;
  GPIO_InitStruct.Pull = GPIO_PULLUP;
  HAL_GPIO_Init(GPIOB, &GPIO_InitStruct);

  /*Configure GPIO pin : PA8 */
  GPIO_InitStruct.Pin = GPIO_PIN_8;
  GPIO_InitStruct.Mode = GPIO_MODE_INPUT;
  GPIO_InitStruct.Pull = GPIO_PULLUP;
  HAL_GPIO_Init(GPIOA, &GPIO_InitStruct);

  /*Configure GPIO pin : PA9 */
  GPIO_InitStruct.Pin = GPIO_PIN_9;
  GPIO_InitStruct.Mode = GPIO_MODE_IT_FALLING;
  GPIO_InitStruct.Pull = GPIO_PULLUP;
  HAL_GPIO_Init(GPIOA, &GPIO_InitStruct);

  /*Configure GPIO pin : M1_I2_Pin */
  GPIO_InitStruct.Pin = M1_I2_Pin;
  GPIO_InitStruct.Mode = GPIO_MODE_OUTPUT_PP;
  GPIO_InitStruct.Pull = GPIO_NOPULL;
  GPIO_InitStruct.Speed = GPIO_SPEED_FREQ_LOW;
  HAL_GPIO_Init(M1_I2_GPIO_Port, &GPIO_InitStruct);

  /* EXTI interrupt init*/
  HAL_NVIC_SetPriority(EXTI9_5_IRQn, 1, 0);
  HAL_NVIC_EnableIRQ(EXTI9_5_IRQn);

  HAL_NVIC_SetPriority(EXTI15_10_IRQn, 1, 0);
  HAL_NVIC_EnableIRQ(EXTI15_10_IRQn);

}

/* USER CODE BEGIN 4 */
//void HAL_SPI_RxCpltCallback(SPI_HandleTypeDef *hspi) {

//}

void HAL_TIM_PeriodElapsedCallback(TIM_HandleTypeDef *htim) {

	if (htim == &htim4)	// 10000us
	{
		for (uint8_t i = 0; i < 3; i++) {
			if (motor[i].motor_en) {
				if (motor[i].counter >= (motor[i].trg_up - 1)) {
					if (motor[i].direction == forward) HAL_GPIO_TogglePin(motor[i].gpio1, motor[i].pin1);
					else if (motor[i].direction == backforward) HAL_GPIO_TogglePin(motor[i].gpio2, motor[i].pin2);
					motor[i].counter = 0;
				}
				else motor[i].counter++;

				if (motor[i].counter >= motor[i].pwm_count_down) {
					if (motor[i].direction == forward) HAL_GPIO_WritePin(motor[i].gpio1, motor[i].pin1, GPIO_PIN_RESET);
					else if (motor[i].direction == backforward) HAL_GPIO_WritePin(motor[i].gpio2, motor[i].pin2, GPIO_PIN_RESET);
				}
//				motor[i].pid.current_time++;
			}
		}
	}
	else if (htim == &htim3) {

	}

//	for(uint32_t i = 0; i < 1000; i++) {}
}
void HAL_GPIO_EXTI_Callback(uint16_t GPIO_Pin) {

	if (GPIO_Pin == GPIO_PIN_2) {
//		motor[0].motor_en = false;
//		HAL_GPIO_WritePin(motor[0].gpio1, motor[0].pin1, GPIO_PIN_SET);
//		HAL_GPIO_WritePin(motor[0].gpio2, motor[0].pin2, GPIO_PIN_SET);
//	}
//	else if (GPIO_Pin == GPIO_PIN_10) {
//		motor[1].motor_en = false;
//		HAL_GPIO_WritePin(motor[1].gpio1, motor[1].pin1, GPIO_PIN_SET);
//		HAL_GPIO_WritePin(motor[1].gpio2, motor[1].pin2, GPIO_PIN_SET);
//	}
//	else if (GPIO_Pin == GPIO_PIN_11) {
//		motor[2].motor_en = false;
//		HAL_GPIO_WritePin(motor[2].gpio1, motor[2].pin1, GPIO_PIN_SET);
//		HAL_GPIO_WritePin(motor[2].gpio2, motor[2].pin2, GPIO_PIN_SET);
	}

	else if (GPIO_Pin == GPIO_PIN_9) {
		if (!HAL_GPIO_ReadPin(GPIOA, GPIO_PIN_8)) {
			if (motor[0].direction == backforward) exoskeleton.current_q[0] -=
					motor[0].linear_step_on_per / (7.0 * motor[0].transfer_value);
		}
		else {
			if (motor[0].direction == forward) exoskeleton.current_q[0]	+=
					motor[0].linear_step_on_per / (7.0 * motor[0].transfer_value);
		}
	}

	else if (GPIO_Pin == GPIO_PIN_15) {
		if (!HAL_GPIO_ReadPin(GPIOB, GPIO_PIN_14)) {
			if (motor[1].direction == backforward) exoskeleton.current_q[1]	-=
					motor[1].linear_step_on_per / (7.0 * motor[1].transfer_value);
		}
		else {
			if (motor[1].direction == forward) exoskeleton.current_q[1] +=
					motor[1].linear_step_on_per / (7.0 * motor[1].transfer_value);
		}
	}

	else if (GPIO_Pin == GPIO_PIN_13) {
		if (!HAL_GPIO_ReadPin(GPIOB, GPIO_PIN_12)) {
			if (motor[2].direction == forward) exoskeleton.current_q[2]	+=
					motor[2].linear_step_on_per / (7.0 * motor[2].transfer_value);
		}
		else {
			if (motor[2].direction == backforward) exoskeleton.current_q[2]	-=
					motor[2].linear_step_on_per / (7.0 * motor[2].transfer_value);
		}
	}

}

/* USER CODE END 4 */

void Error_Handler(void)
{
  __disable_irq();
  while (1)
  {
  }
}
